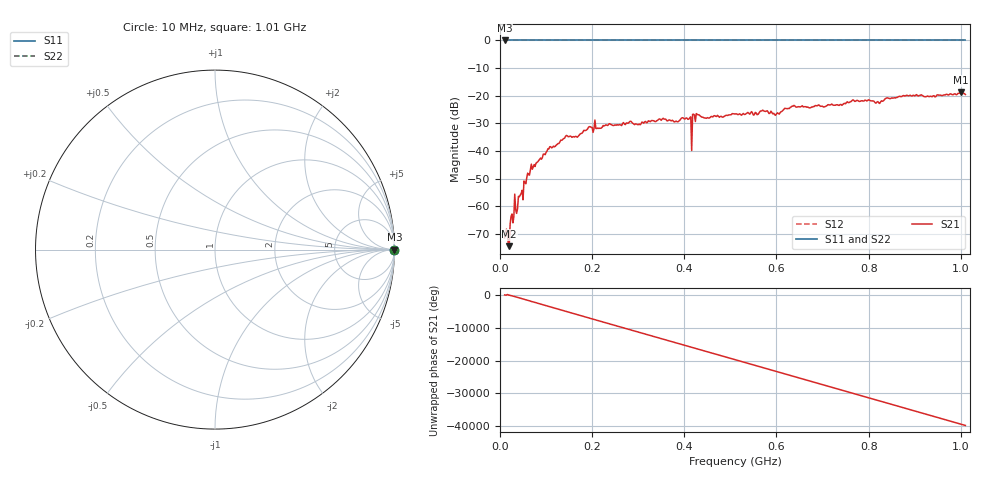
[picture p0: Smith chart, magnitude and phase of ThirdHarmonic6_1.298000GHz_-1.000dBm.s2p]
! 8/16/2025 2:15:45 PM
! C:\ANRITSUVNA\TEMP\TEMP.S2P
! CHANNEL.1
! TR.MEASUREMENT
! RAW.DATA
! RF.CORRECTION.OFF
! AVERAGING.OFF
! IF.BANDWIDTH: 5KHZ
! SWEEPTYPE:  FREQ.SWEEP(Linear)
! Reference Plane Port Info
! PORT:  PORT1  PORT2
! DISTANCE:  0  m  0  m
! TIME:  0  s  0  s
! PHASE.OFFSET:  0  deg.  0  deg.
! LOSS:  0  dB  0  dB
! REF.LOSS:  0  dB  0  dB
! REF.FREQ:  0  Hz  0  Hz
! Power Info
! POWER:  -20  dBm  -20  dBm
! EFF.POWER:  -20  dBm  -20  dBm
! SOURCE.ATTEN:  0  dB  0  dB
! TEST.ATTEN:  0  dB  0  dB
# GHZ S RI R 50.0
! FREQ.GHZ  S11RE  S11IM  S21RE  S21IM  S12RE  S12IM  S22RE  S22IM
!; PortSelection: Port_12
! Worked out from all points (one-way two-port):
!   501 points, 10 MHz to 1.01 GHz, reference 50 ohm
!   highest |S21| = -18.82 dB at 1 GHz (marker M1); lowest = -74.5 dB at 20 MHz (marker M2)
!   lowest |S11| = 0.0 dB at 10 MHz (marker M3)
!   |S11| at or under -10 dB: nowhere
!   |S22| runs from 0.0 to 0.0 dB; largest |S21 - S12| = 1.1
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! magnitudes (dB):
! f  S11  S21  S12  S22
! 10 MHz  0.0  -71.5  0.0  0.0
! 16 MHz  0.0  -70.3  0.0  0.0
! 20 MHz  0.0  -74.5  0.0  0.0
! 28 MHz  0.0  -66.0  0.0  0.0
! 70 MHz  0.0  -46.6  0.0  0.0
! 106 MHz  0.0  -39.3  0.0  0.0
! 142 MHz  0.0  -34.7  0.0  0.0
! 178 MHz  0.0  -33.6  0.0  0.0
! 196 MHz  0.0  -31.2  0.0  0.0
! 344 MHz  0.0  -28.6  0.0  0.0
! 410 MHz  0.0  -28.4  0.0  0.0
! 412 MHz  0.0  -27.9  0.0  0.0
! 422 MHz  0.0  -27.0  0.0  0.0
! 430 MHz  0.0  -26.9  0.0  0.0
! 450 MHz  0.0  -27.9  0.0  0.0
! 510 MHz  0.0  -26.6  0.0  0.0
! 600 MHz  0.0  -26.6  0.0  0.0
! 636 MHz  0.0  -23.8  0.0  0.0
! 678 MHz  0.0  -24.1  0.0  0.0
! 844 MHz  0.0  -20.9  0.0  0.0
! 1 GHz  0.0  -18.8  0.0  0.0
! 1.01 GHz  0.0  -19.6  0.0  0.0
